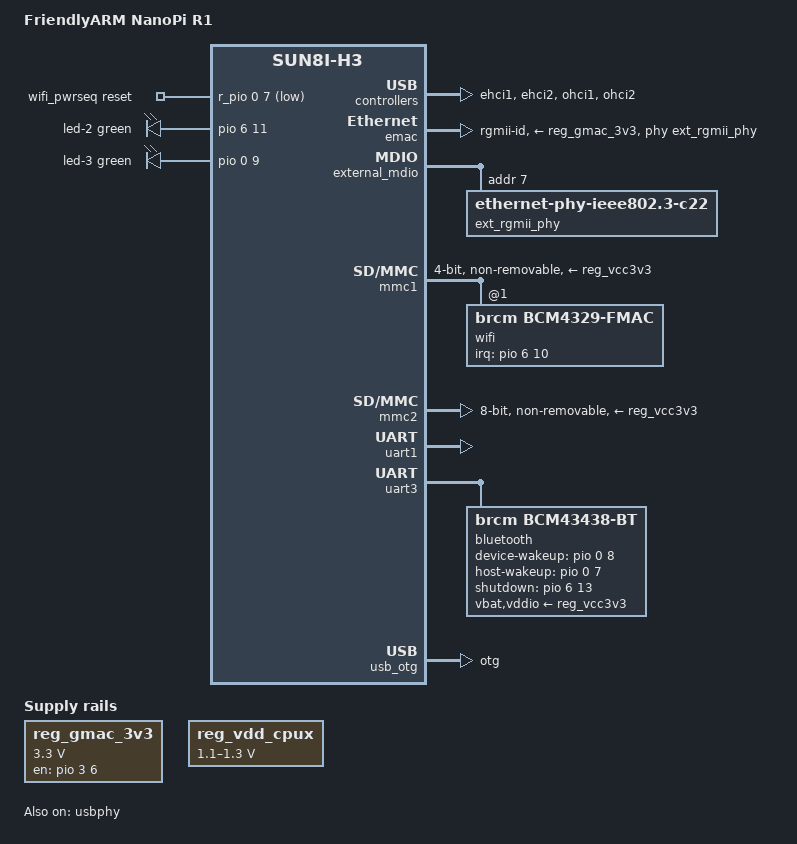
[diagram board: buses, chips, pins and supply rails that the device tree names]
// SPDX-License-Identifier: (GPL-2.0+ OR MIT)
/*
 * Copyright (C) 2019 Igor Pecovnik <igor@armbian.com>
 * Copyright (C) 2020 Jayantajit Gogoi <jayanta.gogoi525@gmail.com>
 * Copyright (C) 2020 Yu-Tung Chang <mtwget@gmail.com>
*/

#include "sun8i-h3-nanopi.dtsi"
#include <dt-bindings/leds/common.h>

/ {
	model = "FriendlyARM NanoPi R1";
	compatible = "friendlyarm,nanopi-r1", "allwinner,sun8i-h3";

	aliases {
		serial1 = &uart1;
		ethernet0 = &emac;
		ethernet1 = &wifi;
	};

	reg_gmac_3v3: gmac-3v3 {
		compatible = "regulator-fixed";
		regulator-name = "gmac-3v3";
		regulator-min-microvolt = <3300000>;
		regulator-max-microvolt = <3300000>;
		startup-delay-us = <100000>;
		enable-active-high;
		gpio = <&pio 3 6 GPIO_ACTIVE_HIGH>; /* PD6 */
	};

	reg_vdd_cpux: gpio-regulator {
		compatible = "regulator-gpio";
		regulator-name = "vdd-cpux";
		regulator-type = "voltage";
		regulator-boot-on;
		regulator-always-on;
		regulator-min-microvolt = <1100000>;
		regulator-max-microvolt = <1300000>;
		regulator-ramp-delay = <50>;
		gpios = <&r_pio 0 6 GPIO_ACTIVE_HIGH>; /* PL6 */
		gpios-states = <0x1>;
		states = <1100000 0x0>,
			 <1300000 0x1>;
	};

	wifi_pwrseq: wifi_pwrseq {
		compatible = "mmc-pwrseq-simple";
		reset-gpios = <&r_pio 0 7 GPIO_ACTIVE_LOW>; /* PL7 */
		clocks = <&rtc CLK_OSC32K_FANOUT>;
		clock-names = "ext_clock";
	};

	leds {
		led-2 {
			function = LED_FUNCTION_WAN;
			color = <LED_COLOR_ID_GREEN>;
			gpios = <&pio 6 11 GPIO_ACTIVE_HIGH>; /* PG11 */
		};

		led-3 {
			function = LED_FUNCTION_LAN;
			color = <LED_COLOR_ID_GREEN>;
			gpios = <&pio 0 9 GPIO_ACTIVE_HIGH>; /* PA9 */
		};
	};
};

&cpu0 {
	cpu-supply = <&reg_vdd_cpux>;
};

&ehci1 {
	status = "okay";
};

&ehci2 {
	status = "okay";
};

&emac {
	pinctrl-names = "default";
	pinctrl-0 = <&emac_rgmii_pins>;
	phy-supply = <&reg_gmac_3v3>;
	phy-handle = <&ext_rgmii_phy>;
	phy-mode = "rgmii-id";
	status = "okay";
};

&external_mdio {
	ext_rgmii_phy: ethernet-phy@7 {
		compatible = "ethernet-phy-ieee802.3-c22";
		reg = <7>;
	};
};

&mmc1 {
	vmmc-supply = <&reg_vcc3v3>;
	vqmmc-supply = <&reg_vcc3v3>;
	mmc-pwrseq = <&wifi_pwrseq>;
	bus-width = <4>;
	non-removable;
	status = "okay";

	wifi: wifi@1 {
		reg = <1>;
		compatible = "brcm,bcm4329-fmac";
		interrupt-parent = <&pio>;
		interrupts = <6 10 IRQ_TYPE_LEVEL_LOW>; /* PG10 / EINT10 */
		interrupt-names = "host-wake";
	};
};

&mmc2 {
	pinctrl-names = "default";
	pinctrl-0 = <&mmc2_8bit_pins>;
	vmmc-supply = <&reg_vcc3v3>;
	vqmmc-supply = <&reg_vcc3v3>;
	bus-width = <8>;
	non-removable;
	status = "okay";
};

&ohci1 {
	status = "okay";
};

&ohci2 {
	status = "okay";
};

&reg_usb0_vbus {
	gpio = <&r_pio 0 2 GPIO_ACTIVE_HIGH>; /* PL2 */
	status = "okay";
};

&uart1 {
	pinctrl-names = "default";
	pinctrl-0 = <&uart1_pins>;
	status = "okay";
};

&uart3 {
	pinctrl-names = "default";
	pinctrl-0 = <&uart3_pins>, <&uart3_rts_cts_pins>;
	uart-has-rtscts;
	status = "okay";

	bluetooth {
		compatible = "brcm,bcm43438-bt";
		clocks = <&rtc CLK_OSC32K_FANOUT>;
		clock-names = "lpo";
		vbat-supply = <&reg_vcc3v3>;
		vddio-supply = <&reg_vcc3v3>;
		device-wakeup-gpios = <&pio 0 8 GPIO_ACTIVE_HIGH>; /* PA8 */
		host-wakeup-gpios = <&pio 0 7 GPIO_ACTIVE_HIGH>; /* PA7 */
		shutdown-gpios = <&pio 6 13 GPIO_ACTIVE_HIGH>; /* PG13 */
	};
};

&usb_otg {
	status = "okay";
	dr_mode = "otg";
};

&usbphy {
	usb0_id_det-gpios = <&pio 6 12 GPIO_ACTIVE_HIGH>; /* PG12 */
	usb0_vbus-supply = <&reg_usb0_vbus>;
	status = "okay";
};
